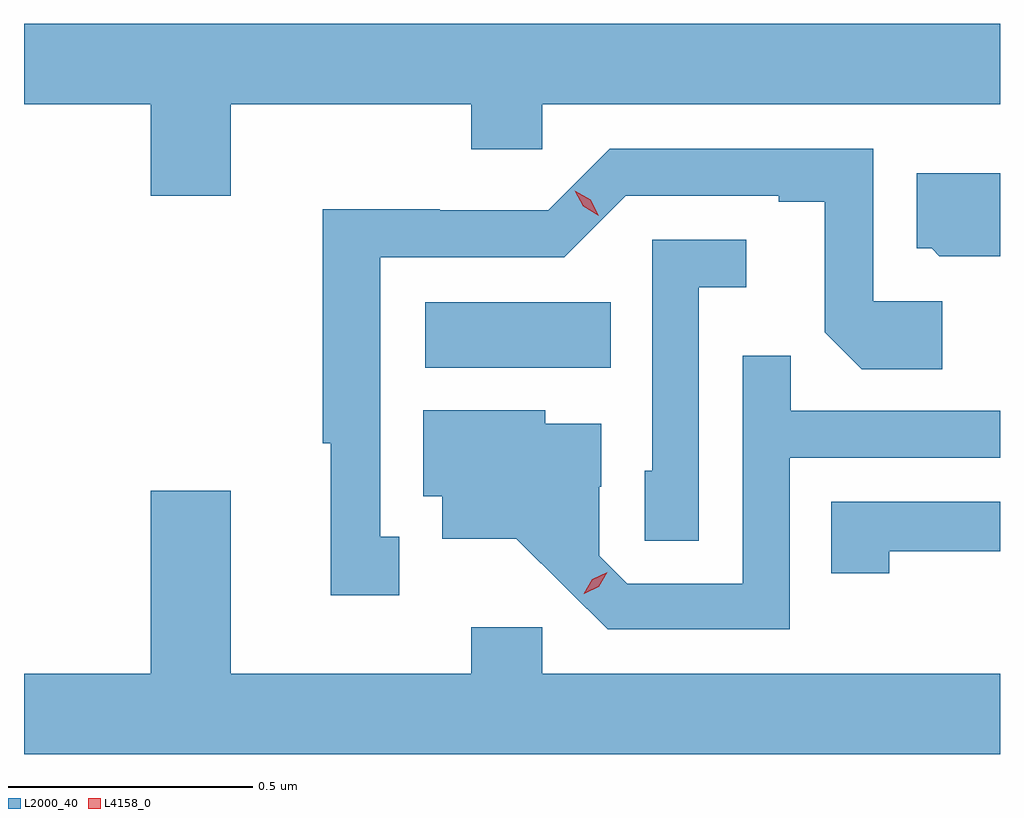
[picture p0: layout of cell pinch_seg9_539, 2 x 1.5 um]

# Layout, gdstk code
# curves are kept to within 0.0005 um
import gdstk
lib = gdstk.Library(unit=1e-6, precision=1e-09)
def R(c, l, rs):  # rectangles x0, y0, x1, y1
    for r in rs: c.add(gdstk.rectangle(r[:2], r[2:], *l))
def P(c, l, *ps):  # polygons
    for p in ps: c.add(gdstk.Polygon(p, *l))
L2000_40 = (2000, 40)
L4158_0 = (4158, 0)

pinch_seg9_539 = lib.new_cell('pinch_seg9_539')
R(pinch_seg9_539, L2000_40, [(309.426,1197.212,309.806,1197.346)])
P(pinch_seg9_539, L2000_40, [(309.028,1197.752),(309.52,1197.752),(309.52,1197.659),(309.666,1197.659),(309.666,1197.752),(310.604,1197.752),(310.604,1197.916),(308.604,1197.916),(308.604,1197.752),(308.864,1197.752),(308.864,1197.564),(309.028,1197.564)],
  [(309.373,1196.865),(309.334,1196.865),(309.334,1197.438),(309.711,1197.438),(309.837,1197.564),(310.151,1197.564),(310.151,1197.552),(310.245,1197.552),(310.245,1197.284),(310.321,1197.208),(310.486,1197.208),(310.486,1197.348),(310.344,1197.348),(310.344,1197.66),(309.804,1197.66),(309.678,1197.534),(309.456,1197.534),(309.456,1197.536),(309.216,1197.536),(309.216,1197.057),(309.233,1197.057),(309.233,1196.745),(309.373,1196.745)],
  [(310.604,1197.61),(310.433,1197.61),(310.433,1197.456),(310.464,1197.456),(310.48,1197.44),(310.604,1197.44)],
  [(309.987,1197.377),(310.084,1197.377),(310.084,1197.474),(309.891,1197.474),(309.891,1197),(309.876,1197),(309.876,1196.857),(309.987,1196.857)],
  [(310.173,1197.027),(310.604,1197.027),(310.604,1197.123),(310.175,1197.123),(310.175,1197.236),(310.077,1197.236),(310.077,1196.769),(309.84,1196.769),(309.783,1196.826),(309.783,1196.968),(309.787,1196.968),(309.787,1197.097),(309.672,1197.097),(309.672,1197.124),(309.422,1197.124),(309.422,1196.948),(309.461,1196.948),(309.461,1196.861),(309.613,1196.861),(309.8,1196.676),(310.173,1196.676)],
  [(310.604,1196.584),(309.666,1196.584),(309.666,1196.68),(309.52,1196.68),(309.52,1196.584),(309.028,1196.584),(309.028,1196.959),(308.864,1196.959),(308.864,1196.584),(308.604,1196.584),(308.604,1196.42),(310.604,1196.42)],
  [(310.377,1196.836),(310.604,1196.836),(310.604,1196.937),(310.258,1196.937),(310.258,1196.79),(310.377,1196.79)])
P(pinch_seg9_539, L4158_0, [(309.751,1196.748),(309.751,1196.748),(309.768,1196.778),(309.799,1196.793),(309.799,1196.793),(309.799,1196.793),(309.782,1196.763),(309.752,1196.748)],
  [(309.782,1197.523),(309.75,1197.542),(309.733,1197.574),(309.733,1197.574),(309.733,1197.574),(309.765,1197.556),(309.782,1197.523),(309.782,1197.523)])

lib.write_gds('pinch_seg9_539.gds')
